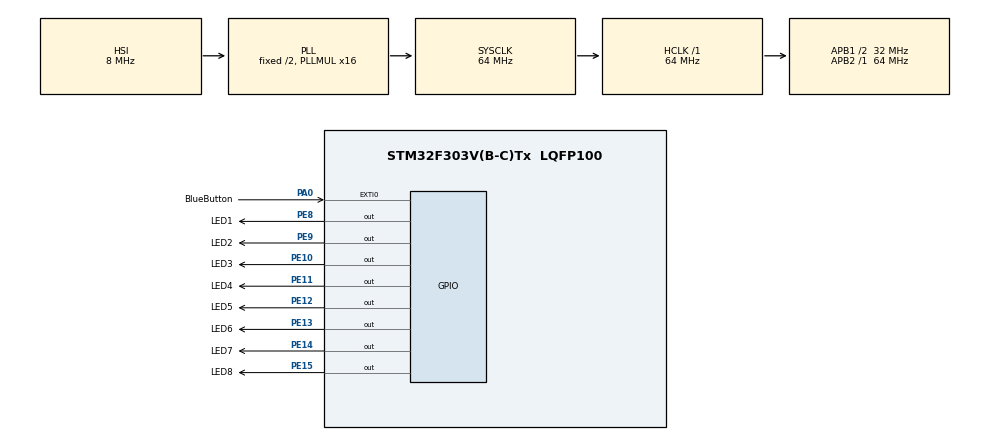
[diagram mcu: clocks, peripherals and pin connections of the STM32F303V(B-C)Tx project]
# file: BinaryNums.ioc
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Mcu.Family=STM32F3
Mcu.Name=STM32F303V(B-C)Tx
Mcu.Package=LQFP100
NVIC.PriorityGroup=NVIC_PRIORITYGROUP_4
PA0.GPIO_Label=BlueButton
PA0.Signal=GPXTI0
PE10.GPIO_Label=LED3
PE10.Signal=GPIO_Output
PE11.GPIO_Label=LED4
PE11.Signal=GPIO_Output
PE12.GPIO_Label=LED5
PE12.Signal=GPIO_Output
PE13.GPIO_Label=LED6
PE13.Signal=GPIO_Output
PE14.GPIO_Label=LED7
PE14.Signal=GPIO_Output
PE15.GPIO_Label=LED8
PE15.Signal=GPIO_Output
PE8.GPIO_Label=LED1
PE8.Signal=GPIO_Output
PE9.GPIO_Label=LED2
PE9.Signal=GPIO_Output
ProjectManager.HeapSize=0x200
ProjectManager.StackSize=0x400
ProjectManager.TargetToolchain=SW4STM32
RCC.AHBFreq_Value=64000000
RCC.APB1CLKDivider=RCC_HCLK_DIV2
RCC.APB1Freq_Value=32000000
RCC.APB1TimFreq_Value=64000000
RCC.APB2Freq_Value=64000000
RCC.APB2TimFreq_Value=64000000
RCC.CortexFreq_Value=64000000
RCC.HCLKFreq_Value=64000000
RCC.HSE_VALUE=8000000
RCC.HSI_VALUE=8000000
RCC.LSE_VALUE=32768
RCC.PLLMUL=RCC_PLL_MUL16
RCC.SYSCLKFreq_VALUE=64000000
RCC.SYSCLKSourceVirtual=RCC_SYSCLKSOURCE_PLLCLK
RCC.USBFreq_Value=64000000
board=BinaryNums

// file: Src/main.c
/**
  ******************************************************************************
  * File Name          : main.c
  * Description        : Main program body
  ******************************************************************************
  ** This notice applies to any and all portions of this file
  * that are not between comment pairs USER CODE BEGIN and
  * USER CODE END. Other portions of this file, whether
  * inserted by the user or by software development tools
  * are owned by their respective copyright owners.
  *
  * COPYRIGHT(c) 2017 STMicroelectronics
  *
  * Redistribution and use in source and binary forms, with or without modification,
  * are permitted provided that the following conditions are met:
  *   1. Redistributions of source code must retain the above copyright notice,
  *      this list of conditions and the following disclaimer.
  *   2. Redistributions in binary form must reproduce the above copyright notice,
  *      this list of conditions and the following disclaimer in the documentation
  *      and/or other materials provided with the distribution.
  *   3. Neither the name of STMicroelectronics nor the names of its contributors
  *      may be used to endorse or promote products derived from this software
  *      without specific prior written permission.
  *
  * THIS SOFTWARE IS PROVIDED BY THE COPYRIGHT HOLDERS AND CONTRIBUTORS "AS IS"
  * AND ANY EXPRESS OR IMPLIED WARRANTIES, INCLUDING, BUT NOT LIMITED TO, THE
  * IMPLIED WARRANTIES OF MERCHANTABILITY AND FITNESS FOR A PARTICULAR PURPOSE ARE
  * DISCLAIMED. IN NO EVENT SHALL THE COPYRIGHT HOLDER OR CONTRIBUTORS BE LIABLE
  * FOR ANY DIRECT, INDIRECT, INCIDENTAL, SPECIAL, EXEMPLARY, OR CONSEQUENTIAL
  * DAMAGES (INCLUDING, BUT NOT LIMITED TO, PROCUREMENT OF SUBSTITUTE GOODS OR
  * SERVICES; LOSS OF USE, DATA, OR PROFITS; OR BUSINESS INTERRUPTION) HOWEVER
  * CAUSED AND ON ANY THEORY OF LIABILITY, WHETHER IN CONTRACT, STRICT LIABILITY,
  * OR TORT (INCLUDING NEGLIGENCE OR OTHERWISE) ARISING IN ANY WAY OUT OF THE USE
  * OF THIS SOFTWARE, EVEN IF ADVISED OF THE POSSIBILITY OF SUCH DAMAGE.
  *
  ******************************************************************************
  */
#include "main.h"
#include "stm32f3xx_hal.h"
#include "gpio.h"

/* USER CODE BEGIN PV */
/* Private variables ---------------------------------------------------------*/

/* USER CODE END PV */

void SystemClock_Config(void);

/* USER CODE BEGIN PFP */
/* Private function prototypes -----------------------------------------------*/

/* USER CODE END PFP */

int main(void)
{

  /* MCU Configuration----------------------------------------------------------*/

  /* Reset of all peripherals, Initializes the Flash interface and the Systick. */
  HAL_Init();

  /* Configure the system clock */
  SystemClock_Config();

  /* Initialize all configured peripherals */
  MX_GPIO_Init();

  /* Infinite loop */
  /* USER CODE BEGIN WHILE */
  int pressed = 0;
  while (1) {
	  if ( HAL_GPIO_ReadPin(BlueButton_GPIO_Port, BlueButton_Pin) == GPIO_PIN_SET )
	     {
	      ++pressed;
	      HAL_Delay(50);
	      while( HAL_GPIO_ReadPin(BlueButton_GPIO_Port, BlueButton_Pin) == GPIO_PIN_SET )
	      {}
	      HAL_Delay(50);
	  }

	  HAL_GPIO_WritePin(LED1_GPIO_Port, LED1_Pin, pressed & 1);
	  HAL_GPIO_WritePin(LED2_GPIO_Port, LED2_Pin, pressed & 1 << 1);
	  HAL_GPIO_WritePin(LED3_GPIO_Port, LED3_Pin, pressed & 1 << 2);
	  HAL_GPIO_WritePin(LED4_GPIO_Port, LED4_Pin, pressed & 1 << 3);
	  HAL_GPIO_WritePin(LED5_GPIO_Port, LED5_Pin, pressed & 1 << 4);
	  HAL_GPIO_WritePin(LED6_GPIO_Port, LED6_Pin, pressed & 1 << 5);
	  HAL_GPIO_WritePin(LED7_GPIO_Port, LED7_Pin, pressed & 1 << 6);
	  HAL_GPIO_WritePin(LED8_GPIO_Port, LED8_Pin, pressed & 1 << 7);
  /* USER CODE END WHILE */

  }

}

/** System Clock Configuration
*/
void SystemClock_Config(void)
{

  RCC_OscInitTypeDef RCC_OscInitStruct;
  RCC_ClkInitTypeDef RCC_ClkInitStruct;

    /**Initializes the CPU, AHB and APB busses clocks
    */
  RCC_OscInitStruct.OscillatorType = RCC_OSCILLATORTYPE_HSI;
  RCC_OscInitStruct.HSIState = RCC_HSI_ON;
  RCC_OscInitStruct.HSICalibrationValue = 16;
  RCC_OscInitStruct.PLL.PLLState = RCC_PLL_ON;
  RCC_OscInitStruct.PLL.PLLSource = RCC_PLLSOURCE_HSI;
  RCC_OscInitStruct.PLL.PLLMUL = RCC_PLL_MUL16;
  if (HAL_RCC_OscConfig(&RCC_OscInitStruct) != HAL_OK)
  {
    _Error_Handler(__FILE__, __LINE__);
  }

    /**Initializes the CPU, AHB and APB busses clocks
    */
  RCC_ClkInitStruct.ClockType = RCC_CLOCKTYPE_HCLK|RCC_CLOCKTYPE_SYSCLK
                              |RCC_CLOCKTYPE_PCLK1|RCC_CLOCKTYPE_PCLK2;
  RCC_ClkInitStruct.SYSCLKSource = RCC_SYSCLKSOURCE_PLLCLK;
  RCC_ClkInitStruct.AHBCLKDivider = RCC_SYSCLK_DIV1;
  RCC_ClkInitStruct.APB1CLKDivider = RCC_HCLK_DIV2;
  RCC_ClkInitStruct.APB2CLKDivider = RCC_HCLK_DIV1;

  if (HAL_RCC_ClockConfig(&RCC_ClkInitStruct, FLASH_LATENCY_2) != HAL_OK)
  {
    _Error_Handler(__FILE__, __LINE__);
  }

    /**Configure the Systick interrupt time
    */
  HAL_SYSTICK_Config(HAL_RCC_GetHCLKFreq()/1000);

    /**Configure the Systick
    */
  HAL_SYSTICK_CLKSourceConfig(SYSTICK_CLKSOURCE_HCLK);

  /* SysTick_IRQn interrupt configuration */
  HAL_NVIC_SetPriority(SysTick_IRQn, 0, 0);
}

void _Error_Handler(char * file, int line)
{
  while(1)
  {
  }
}

/************************ (C) COPYRIGHT STMicroelectronics *****END OF FILE****/
